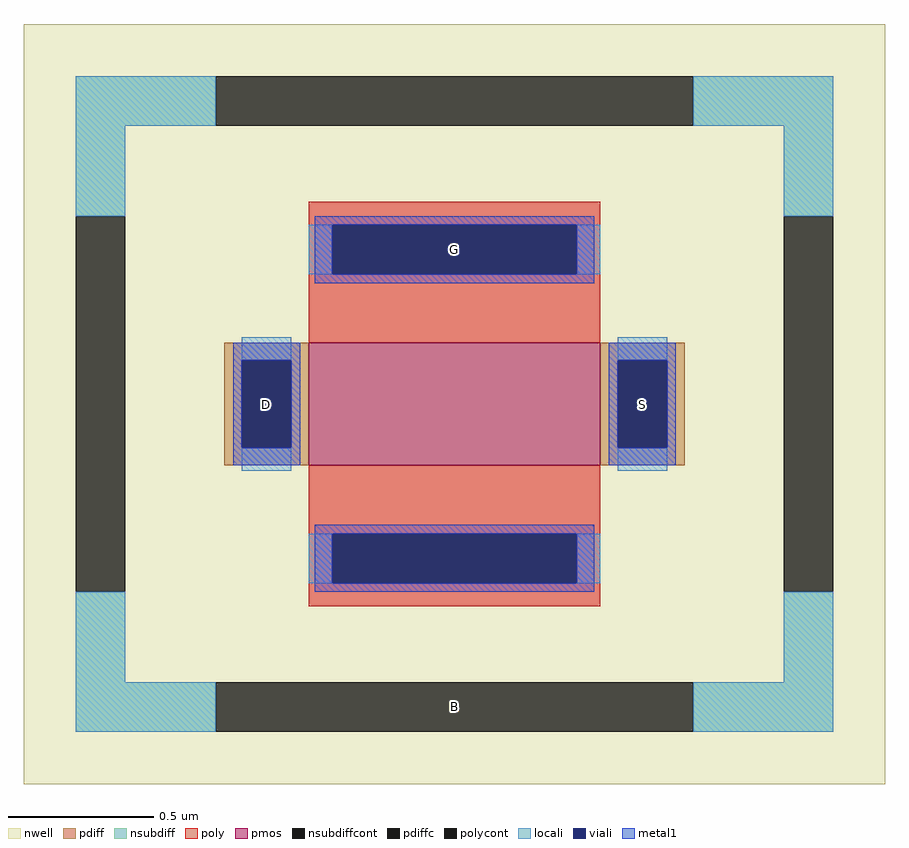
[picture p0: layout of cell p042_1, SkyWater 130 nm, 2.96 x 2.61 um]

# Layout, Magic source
magic
tech sky130A
magscale 1 2
<< nwell >>
rect -296 -261 296 261
<< pmos >>
rect -100 -42 100 42
<< pdiff >>
rect -158 30 -100 42
rect -158 -30 -146 30
rect -112 -30 -100 30
rect -158 -42 -100 -30
rect 100 30 158 42
rect 100 -30 112 30
rect 146 -30 158 30
rect 100 -42 158 -30
<< pdiffc >>
rect -146 -30 -112 30
rect 112 -30 146 30
<< nsubdiff >>
rect -260 191 -164 225
rect 164 191 260 225
rect -260 129 -226 191
rect 226 129 260 191
rect -260 -191 -226 -129
rect 226 -191 260 -129
rect -260 -225 -164 -191
rect 164 -225 260 -191
<< nsubdiffcont >>
rect -164 191 164 225
rect -260 -129 -226 129
rect 226 -129 260 129
rect -164 -225 164 -191
<< poly >>
rect -100 123 100 139
rect -100 89 -84 123
rect 84 89 100 123
rect -100 42 100 89
rect -100 -89 100 -42
rect -100 -123 -84 -89
rect 84 -123 100 -89
rect -100 -139 100 -123
<< polycont >>
rect -84 89 84 123
rect -84 -123 84 -89
<< locali >>
rect -260 191 -164 225
rect 164 191 260 225
rect -260 129 -226 191
rect 226 129 260 191
rect -100 89 -84 123
rect 84 89 100 123
rect -146 30 -112 46
rect -146 -46 -112 -30
rect 112 30 146 46
rect 112 -46 146 -30
rect -100 -123 -84 -89
rect 84 -123 100 -89
rect -260 -191 -226 -129
rect 226 -191 260 -129
rect -260 -225 -164 -191
rect 164 -225 260 -191
<< viali >>
rect -84 89 84 123
rect -146 -30 -112 30
rect 112 -30 146 30
rect -84 -123 84 -89
<< metal1 >>
rect -96 123 96 129
rect -96 89 -84 123
rect 84 89 96 123
rect -96 83 96 89
rect -152 30 -106 42
rect -152 -30 -146 30
rect -112 -30 -106 30
rect -152 -42 -106 -30
rect 106 30 152 42
rect 106 -30 112 30
rect 146 -30 152 30
rect 106 -42 152 -30
rect -96 -89 96 -83
rect -96 -123 -84 -89
rect 84 -123 96 -89
rect -96 -129 96 -123
<< labels >>
rlabel nsubdiffcont 0 -208 0 -208 0 B
port 1 nsew
rlabel pdiffc -129 0 -129 0 0 D
port 2 nsew
rlabel pdiffc 129 0 129 0 0 S
port 3 nsew
rlabel polycont 0 106 0 106 0 G
port 4 nsew
<< properties >>
string FIXED_BBOX -243 -208 243 208
string gencell sky130_fd_pr__pfet_01v8
string library sky130
string parameters w 0.42 l 1 m 1 nf 1 diffcov 100 polycov 100 guard 1 glc 1 grc 1 gtc 1 gbc 1 tbcov 100 rlcov 100 topc 1 botc 1 poverlap 0 doverlap 1 lmin 0.15 wmin 0.42 class mosfet compatible {sky130_fd_pr__pfet_01v8  sky130_fd_pr__pfet_01v8_lvt sky130_fd_pr__pfet_01v8_hvt  sky130_fd_pr__pfet_g5v0d10v5} full_metal 1 conn_gates 0 viasrc 100 viadrn 100 viagate 100 viagb 0 viagr 0 viagl 0 viagt 0 doports 1
<< end >>
